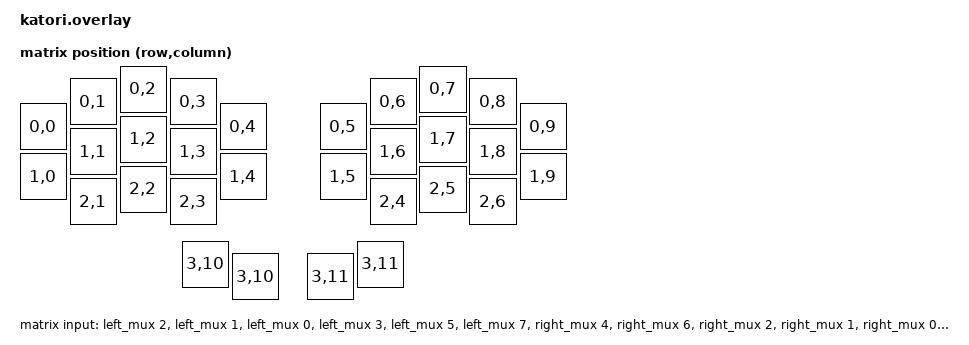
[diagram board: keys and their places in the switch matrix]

#include <zephyr/dt-bindings/dt-util.h>
#include <zephyr/dt-bindings/adc/adc.h>

#include <dt-bindings/zmk/matrix_transform.h>
#include <physical_layouts.dtsi>

&xiao_serial { status = "disabled"; };

/ {
	chosen {
		zmk,kscan = &matrix;
	};

	hummingbird_layout: hummingbird_layout {
		compatible = "zmk,physical-layout";
		display-name = "Default";
		
		transform = <&matrix_transform>;
		
		keys  //                     w   h    x    y     rot    rx    ry
		    = <&key_physical_attrs 100 100    0   75       0     0     0>
		    , <&key_physical_attrs 100 100  100   25       0     0     0>
		    , <&key_physical_attrs 100 100  200    0       0     0     0>
		    , <&key_physical_attrs 100 100  300   25       0     0     0>
		    , <&key_physical_attrs 100 100  400   75       0     0     0>
		    , <&key_physical_attrs 100 100  600   75       0     0     0>
		    , <&key_physical_attrs 100 100  700   25       0     0     0>
		    , <&key_physical_attrs 100 100  800    0       0     0     0>
		    , <&key_physical_attrs 100 100  900   25       0     0     0>
		    , <&key_physical_attrs 100 100 1000   75       0     0     0>
		    , <&key_physical_attrs 100 100    0  175       0     0     0>
		    , <&key_physical_attrs 100 100  100  125       0     0     0>
		    , <&key_physical_attrs 100 100  200  100       0     0     0>
		    , <&key_physical_attrs 100 100  300  125       0     0     0>
		    , <&key_physical_attrs 100 100  400  175       0     0     0>
		    , <&key_physical_attrs 100 100  600  175       0     0     0>
		    , <&key_physical_attrs 100 100  700  125       0     0     0>
		    , <&key_physical_attrs 100 100  800  100       0     0     0>
		    , <&key_physical_attrs 100 100  900  125       0     0     0>
		    , <&key_physical_attrs 100 100 1000  175       0     0     0>
		    , <&key_physical_attrs 100 100  100  225       0     0     0>
		    , <&key_physical_attrs 100 100  200  200       0     0     0>
		    , <&key_physical_attrs 100 100  300  225       0     0     0>
		    , <&key_physical_attrs 100 100  700  225       0     0     0>
		    , <&key_physical_attrs 100 100  800  200       0     0     0>
		    , <&key_physical_attrs 100 100  900  225       0     0     0>
		    , <&key_physical_attrs 100 100  325  350       0     0     0>
		    , <&key_physical_attrs 100 100  425  375       0     0     0>
		    , <&key_physical_attrs 100 100  575  375       0     0     0>
		    , <&key_physical_attrs 100 100  675  350       0     0     0>
		    ;
	};
	
	left_mux: left_mux {
		compatible = "zmk,gpio-mux";
		select-gpios
			= <&xiao_d 1 GPIO_ACTIVE_HIGH>
		        , <&xiao_d 2 GPIO_ACTIVE_HIGH>
		        , <&xiao_d 3 GPIO_ACTIVE_HIGH>
			;

		en-gpios = <&xiao_d 6 GPIO_ACTIVE_LOW>;

		gpio-controller;
		ngpios = <8>;
		#gpio-cells = <2>;
	};

	right_mux: right_mux {
		compatible = "zmk,gpio-mux";
		select-gpios
			= <&xiao_d 1 GPIO_ACTIVE_HIGH>
		        , <&xiao_d 2 GPIO_ACTIVE_HIGH>
		        , <&xiao_d 3 GPIO_ACTIVE_HIGH>
			;

		en-gpios = <&xiao_d 5 GPIO_ACTIVE_LOW>;

		gpio-controller;
		ngpios = <8>;
		#gpio-cells = <2>;
	};

	matrix: matrix {
		compatible = "zmk,kscan-ec-matrix";

		matrix-relax-us = <1000>;
		adc-read-settle-us = <1>;

		strobe-gpios
			= <&xiao_d 10 GPIO_ACTIVE_HIGH>
		        , <&xiao_d 9 GPIO_ACTIVE_HIGH>
		        , <&xiao_d 8 GPIO_ACTIVE_HIGH>
		        , <&xiao_d 7 GPIO_ACTIVE_HIGH>
			;

		input-gpios
			= <&left_mux 2 0>
			, <&left_mux 1 0>
			, <&left_mux 0 0>
			, <&left_mux 3 0>
			, <&left_mux 5 0>
			, <&left_mux 7 0>
			, <&right_mux 4 0>
			, <&right_mux 6 0>
			, <&right_mux 2 0>
			, <&right_mux 1 0>
			, <&right_mux 0 0>
			, <&right_mux 3 0>
			;

		drain-gpios = <&xiao_d 4 GPIO_ACTIVE_HIGH>;
		// io-channels = <&xiao_adc 0>;
		strobe-input-masks = <
			0
			0
			0
			(BIT(0) + BIT(1) + BIT(2) + BIT(9) + BIT(10) + BIT(11))
			>;
	};

	matrix_transform: matrix_transform {
		compatible = "zmk,matrix-transform";

		columns = <10>;
		rows = <4>;
	
		map = <
RC(0,0) RC(0,1) RC(0,2) RC(0,3) RC(0,4) RC(0,5) RC(0,6) RC(0,7) RC(0,8) RC(0,9)
RC(1,0) RC(1,1) RC(1,2) RC(1,3) RC(1,4) RC(1,5) RC(1,6) RC(1,7) RC(1,8) RC(1,9)
        RC(2,1) RC(2,2) RC(2,3)                 RC(2,4) RC(2,5) RC(2,6)
                	RC(3,10) RC(3,10) RC(3,11) RC(3,11) 
		>;
	};
	
};
